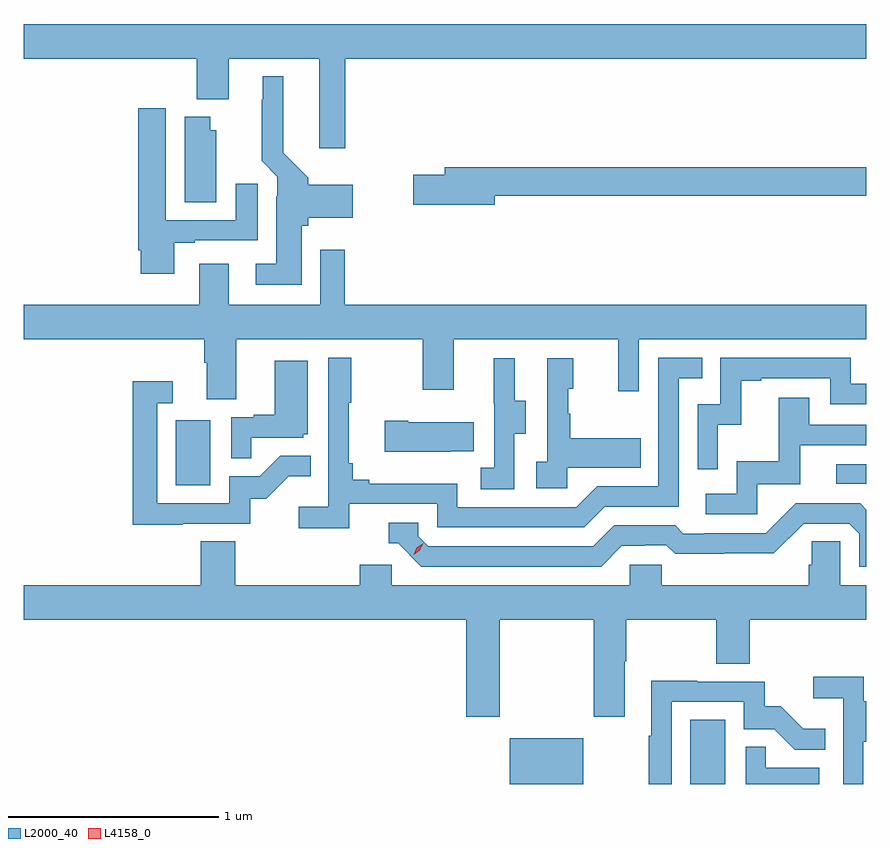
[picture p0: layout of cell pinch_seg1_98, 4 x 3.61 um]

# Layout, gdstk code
import gdstk
lib = gdstk.Library(unit=1e-6, precision=1e-09)
def R(c, l, rs):  # rectangles x0, y0, x1, y1
    for r in rs: c.add(gdstk.rectangle(r[:2], r[2:], *l))
def P(c, l, *ps):  # polygons
    for p in ps: c.add(gdstk.Polygon(p, *l))
L2000_40 = (2000, 40)
L4158_0 = (4158, 0)

pinch_seg1_98 = lib.new_cell('pinch_seg1_98')
R(pinch_seg1_98, L2000_40, [(1054.682,542.961,1055.032,543.178), (1055.54,542.961,1055.704,543.265), (1053.098,544.38,1053.262,544.687)])
P(pinch_seg1_98, L2000_40, [(1053.902,546.404),(1056.375,546.404),(1056.375,546.568),(1052.375,546.568),(1052.375,546.404),(1053.197,546.404),(1053.197,546.212),(1053.349,546.212),(1053.349,546.404),(1053.779,546.404),(1053.779,545.979),(1053.902,545.979)],
  [(1053.694,545.61),(1053.725,545.61),(1053.725,545.648),(1053.937,545.648),(1053.937,545.806),(1053.725,545.806),(1053.725,545.838),(1053.607,545.956),(1053.607,546.319),(1053.509,546.319),(1053.509,546.209),(1053.505,546.209),(1053.505,545.918),(1053.579,545.844),(1053.579,545.75),(1053.575,545.75),(1053.575,545.431),(1053.477,545.431),(1053.477,545.33),(1053.694,545.33)],
  [(1053.091,545.529),(1053.187,545.529),(1053.187,545.541),(1053.487,545.541),(1053.487,545.809),(1053.383,545.809),(1053.383,545.637),(1053.049,545.637),(1053.049,546.169),(1052.918,546.169),(1052.918,545.494),(1052.93,545.494),(1052.93,545.382),(1053.091,545.382)],
  [(1053.289,546.063),(1053.262,546.063),(1053.262,546.127),(1053.14,546.127),(1053.14,545.722),(1053.289,545.722)],
  [(1054.612,545.752),(1056.375,545.752),(1056.375,545.888),(1054.373,545.888),(1054.373,545.852),(1054.224,545.852),(1054.224,545.71),(1054.612,545.71)],
  [(1053.385,545.072),(1054.27,545.072),(1054.27,544.833),(1054.417,544.833),(1054.417,545.072),(1055.198,545.072),(1055.198,544.824),(1055.295,544.824),(1055.295,545.072),(1056.375,545.072),(1056.375,545.236),(1053.899,545.236),(1053.899,545.497),(1053.783,545.497),(1053.783,545.236),(1053.349,545.236),(1053.349,545.431),(1053.209,545.431),(1053.209,545.236),(1052.375,545.236),(1052.375,545.072),(1053.233,545.072),(1053.233,544.96),(1053.245,544.96),(1053.245,544.786),(1053.385,544.786)],
  [(1053.92,544.29),(1054.338,544.29),(1054.338,544.179),(1055.035,544.179),(1055.134,544.278),(1055.484,544.278),(1055.484,544.887),(1055.597,544.887),(1055.597,544.983),(1055.388,544.983),(1055.388,544.374),(1055.097,544.374),(1054.998,544.275),(1054.434,544.275),(1054.434,544.387),(1054.015,544.387),(1054.015,544.406),(1053.938,544.406),(1053.938,544.483),(1053.919,544.483),(1053.919,544.771),(1053.931,544.771),(1053.931,544.984),(1053.822,544.984),(1053.822,544.276),(1053.681,544.276),(1053.681,544.174),(1053.92,544.174)],
  [(1055.67,544.667),(1055.78,544.667),(1055.78,544.875),(1055.875,544.875),(1055.875,544.887),(1056.204,544.887),(1056.204,544.764),(1056.375,544.764),(1056.375,544.86),(1056.3,544.86),(1056.3,544.983),(1055.682,544.983),(1055.682,544.764),(1055.574,544.764),(1055.574,544.455),(1055.67,544.455)],
  [(1054.956,544.463),(1055.303,544.463),(1055.303,544.603),(1054.969,544.603),(1054.969,544.718),(1054.959,544.718),(1054.959,544.836),(1054.984,544.836),(1054.984,544.981),(1054.86,544.981),(1054.86,544.49),(1054.809,544.49),(1054.809,544.365),(1054.956,544.365)],
  [(1054.704,544.624),(1054.759,544.624),(1054.759,544.779),(1054.705,544.779),(1054.705,544.981),(1054.607,544.981),(1054.607,544.767),(1054.608,544.767),(1054.608,544.463),(1054.545,544.463),(1054.545,544.36),(1054.704,544.36)],
  [(1053.455,544.605),(1053.702,544.605),(1053.702,544.62),(1053.724,544.62),(1053.724,544.969),(1053.566,544.969),(1053.566,544.714),(1053.467,544.714),(1053.467,544.701),(1053.36,544.701),(1053.36,544.507),(1053.455,544.507)],
  [(1053.131,544.197),(1053.45,544.197),(1053.45,544.314),(1053.526,544.314),(1053.633,544.421),(1053.737,544.421),(1053.737,544.52),(1053.593,544.52),(1053.495,544.422),(1053.351,544.422),(1053.351,544.293),(1053.009,544.293),(1053.009,544.767),(1053.082,544.767),(1053.082,544.873),(1052.893,544.873),(1052.893,544.192),(1053.131,544.192)],
  [(1055.856,544.383),(1056.061,544.383),(1056.061,544.569),(1056.375,544.569),(1056.375,544.665),(1056.103,544.665),(1056.103,544.795),(1055.959,544.795),(1055.959,544.492),(1055.76,544.492),(1055.76,544.338),(1055.613,544.338),(1055.613,544.242),(1055.856,544.242)],
  [(1054.403,544.541),(1054.511,544.541),(1054.511,544.678),(1054.201,544.678),(1054.201,544.686),(1054.089,544.686),(1054.089,544.538),(1054.403,544.538)],
  [(1056.375,544.479),(1056.231,544.479),(1056.231,544.386),(1056.372,544.386),(1056.375,544.383)],
  [(1055.215,544.092),(1055.322,544.092),(1055.322,544.095),(1055.425,544.095),(1055.467,544.053),(1055.7,544.053),(1055.7,544.055),(1055.936,544.055),(1056.078,544.197),(1056.294,544.197),(1056.342,544.149),(1056.342,543.993),(1056.375,543.993),(1056.375,544.263),(1056.345,544.293),(1056.039,544.293),(1055.898,544.152),(1055.605,544.152),(1055.605,544.149),(1055.506,544.149),(1055.467,544.188),(1055.178,544.188),(1055.079,544.089),(1054.296,544.089),(1054.248,544.137),(1054.248,544.2),(1054.109,544.2),(1054.109,544.104),(1054.152,544.104),(1054.263,543.993),(1055.116,543.993)],
  [(1054.122,544.002),(1053.971,544.002),(1053.971,543.904),(1053.38,543.904),(1053.38,544.112),(1053.215,544.112),(1053.215,543.904),(1052.375,543.904),(1052.375,543.74),(1054.475,543.74),(1054.475,543.279),(1054.635,543.279),(1054.635,543.74),(1055.08,543.74),(1055.08,543.279),(1055.227,543.279),(1055.227,543.544),(1055.235,543.544),(1055.235,543.74),(1055.662,543.74),(1055.662,543.532),(1055.822,543.532),(1055.822,543.74),(1056.375,543.74),(1056.375,543.904),(1056.252,543.904),(1056.252,544.112),(1056.115,544.112),(1056.115,544.002),(1056.101,544.002),(1056.101,543.904),(1055.403,543.904),(1055.403,544.002),(1055.253,544.002),(1055.253,543.904),(1054.122,543.904)],
  [(1056.36,543.161),(1056.375,543.161),(1056.375,543.354),(1056.362,543.354),(1056.362,543.47),(1056.123,543.47),(1056.123,543.368),(1056.264,543.368),(1056.264,542.961),(1056.36,542.961)],
  [(1055.451,543.351),(1055.793,543.351),(1055.793,543.222),(1055.937,543.222),(1056.035,543.124),(1056.179,543.124),(1056.179,543.223),(1056.075,543.223),(1055.968,543.33),(1055.892,543.33),(1055.892,543.447),(1055.573,543.447),(1055.573,543.452),(1055.355,543.452),(1055.355,543.191),(1055.343,543.191),(1055.343,542.961),(1055.451,542.961)],
  [(1056.151,543.039),(1055.897,543.039),(1055.897,543.137),(1055.802,543.137),(1055.802,542.961),(1056.151,542.961)])
P(pinch_seg1_98, L4158_0, [(1054.226,544.05),(1054.226,544.05),(1054.241,544.083),(1054.271,544.104),(1054.272,544.104),(1054.272,544.104),(1054.256,544.07),(1054.226,544.05)])

lib.write_gds('pinch_seg1_98.gds')
